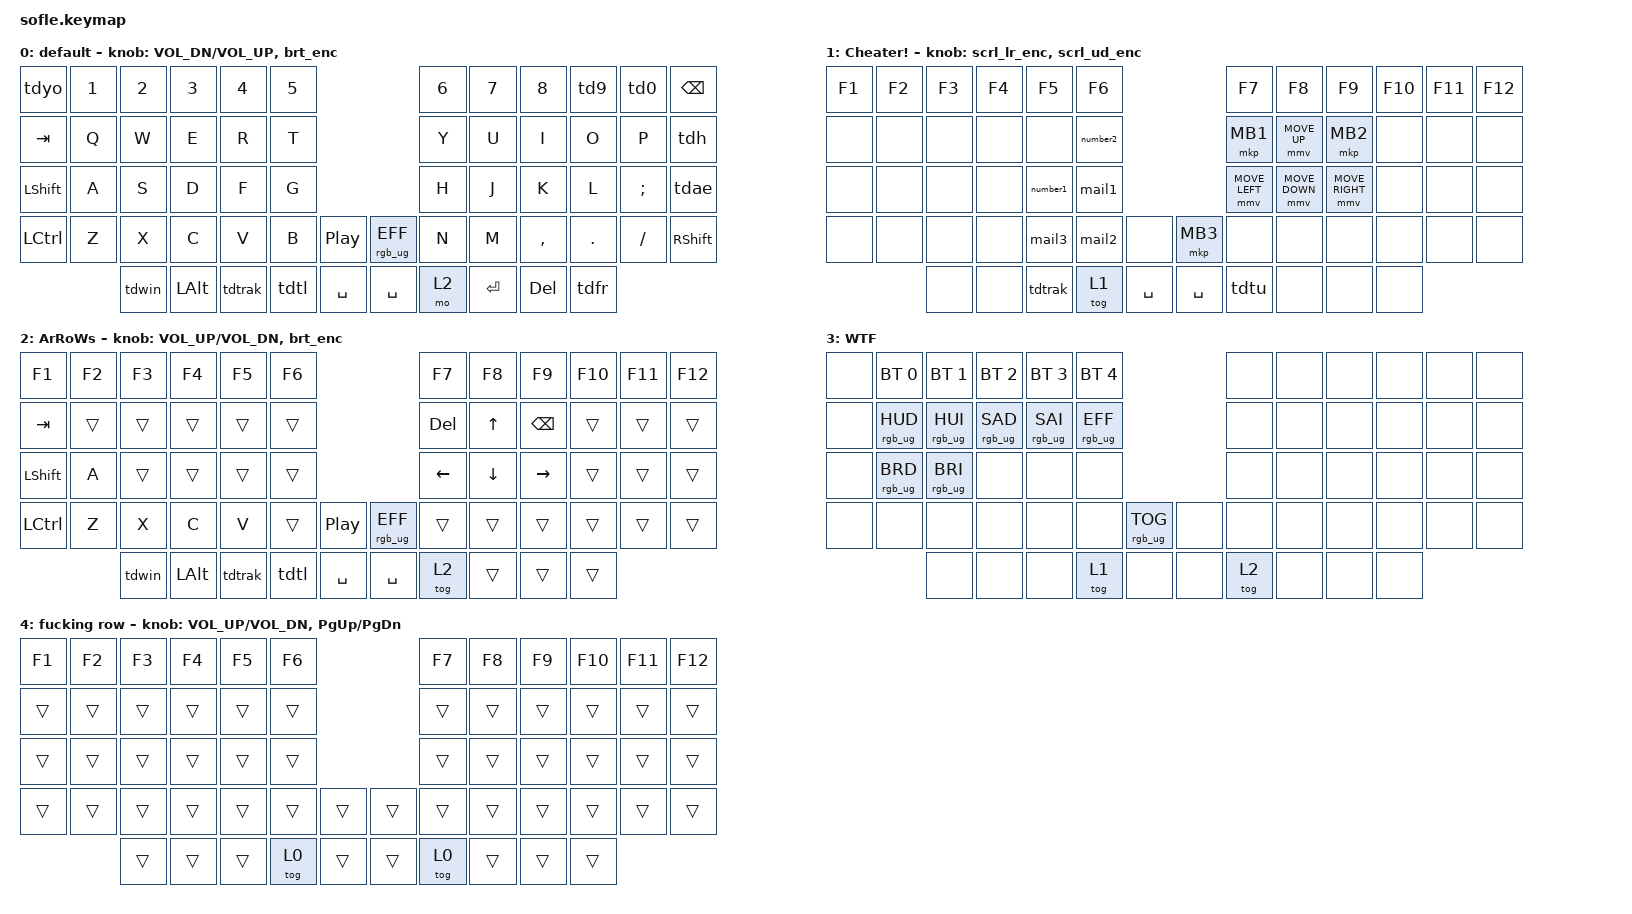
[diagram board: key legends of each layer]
/*
 * Copyright (c) 2020 The ZMK Contributors
 *
 * SPDX-License-Identifier: MIT
 */

#include <behaviors.dtsi>
#include <dt-bindings/zmk/keys.h>
#include <dt-bindings/zmk/bt.h>
#include <dt-bindings/zmk/rgb.h>
#include <dt-bindings/zmk/ext_power.h>
#include <dt-bindings/zmk/pointing.h>

#define BASE 0
#define LOWER 1
#define RAISE 2
#define ADJUST 3
#define FUCKING_ROW 4
#define TAP 175
#define LED 36
#define MACRO_TAP 5
#define MACRO_WAIT 20
/ {

   // Activate ADJUST layer by pressing raise and lower
    conditional_layers {
        compatible = "zmk,conditional-layers";
        adjust_layer {
            if-layers = <LOWER RAISE>;
            then-layer = <ADJUST>;            
        };
    };
    macros {
      wss: win-shift-s {
         compatible = "zmk,behavior-macro";
         #binding-cells = <0>;
         wait-ms = <MACRO_WAIT>;
         tap-ms = <MACRO_TAP>;
         bindings
            = <&macro_wait_time MACRO_WAIT>
            , <&macro_press &kp LGUI>
            , <&macro_press &kp LSHIFT>
            , <&macro_tap &kp S>
            , <&macro_release &kp LGUI>
            , <&macro_release &kp LSHIFT>
            ;
      };

      mail1: mail1 {
         compatible = "zmk,behavior-macro";
         #binding-cells = <0>;
         wait-ms = <MACRO_WAIT>;
         tap-ms = <MACRO_TAP>;
         bindings
            = <&macro_wait_time MACRO_WAIT>
            , <&macro_tap &kp E>
            , <&macro_tap &kp G>
            , <&macro_tap &kp O>
            , <&macro_tap &kp R>
            , <&macro_tap &kp K>
            , <&macro_tap &kp A>
            , <&macro_tap &kp DOT>
            , <&macro_tap &kp P>
            , <&macro_tap &kp A>
            , <&macro_tap &kp S>
            , <&macro_tap &kp K>
            , <&macro_tap &kp A>
            , <&macro_tap &kp L>
            , <&macro_tap &kp AT>
            , <&macro_tap &kp M>
            , <&macro_tap &kp A>
            , <&macro_tap &kp I>
            , <&macro_tap &kp L>
            , <&macro_tap &kp DOT>
            , <&macro_tap &kp R>
            , <&macro_tap &kp U>
            ;
      };

   mail2: mail2 {
         compatible = "zmk,behavior-macro";
         #binding-cells = <0>;
         wait-ms = <MACRO_WAIT>;
         tap-ms = <MACRO_TAP>;
         bindings
            = <&macro_wait_time MACRO_WAIT>
            , <&macro_tap &kp E>
            , <&macro_tap &kp G>
            , <&macro_tap &kp O>
            , <&macro_tap &kp R>
            , <&macro_tap &kp K>
            , <&macro_tap &kp A>
            , <&macro_tap &kp P>
            , <&macro_tap &kp A>
            , <&macro_tap &kp S>
            , <&macro_tap &kp K>
            , <&macro_tap &kp A>
            , <&macro_tap &kp L>
            , <&macro_tap &kp N3>
            , <&macro_tap &kp N0>
            , <&macro_tap &kp AT>
            , <&macro_tap &kp G>
            , <&macro_tap &kp M>
            , <&macro_tap &kp A>
            , <&macro_tap &kp I>
            , <&macro_tap &kp L>
            , <&macro_tap &kp DOT>
            , <&macro_tap &kp C>
            , <&macro_tap &kp O>
            , <&macro_tap &kp M>
            ;
      };

      mail3: mail3 {
         compatible = "zmk,behavior-macro";
         #binding-cells = <0>;
         wait-ms = <MACRO_WAIT>;
         tap-ms = <MACRO_TAP>;
         bindings
            = <&macro_wait_time MACRO_WAIT>
            , <&macro_tap &kp S>
            , <&macro_tap &kp N0>
            , <&macro_tap &kp N2>
            , <&macro_tap &kp N2>
            , <&macro_tap &kp N2>
            , <&macro_tap &kp N0>
            , <&macro_tap &kp N2>
            , <&macro_tap &kp N0>
            , <&macro_tap &kp N4>
            , <&macro_tap &kp AT>
            , <&macro_tap &kp G>
            , <&macro_tap &kp S>
            , <&macro_tap &kp E>
            , <&macro_tap &kp DOT>
            , <&macro_tap &kp C>
            , <&macro_tap &kp S>
            , <&macro_tap &kp DOT>
            , <&macro_tap &kp M>
            , <&macro_tap &kp S>
            , <&macro_tap &kp U>
            , <&macro_tap &kp DOT>
            , <&macro_tap &kp R>
            , <&macro_tap &kp U>
            ;
      };

      number1: number1 {
         compatible = "zmk,behavior-macro";
         #binding-cells = <0>;
         wait-ms = <MACRO_WAIT>;
         tap-ms = <MACRO_TAP>;
         bindings
            = <&macro_wait_time MACRO_WAIT>
            , <&macro_tap &kp N9>
            , <&macro_tap &kp N8>
            , <&macro_tap &kp N0>
            , <&macro_tap &kp N6>
            , <&macro_tap &kp N3>
            , <&macro_tap &kp N0>
            , <&macro_tap &kp N7>
            , <&macro_tap &kp N1>
            , <&macro_tap &kp N7>
            , <&macro_tap &kp N7>
            ;
      };
       number2: number2 {
         compatible = "zmk,behavior-macro";
         #binding-cells = <0>;
         wait-ms = <MACRO_WAIT>;
         tap-ms = <MACRO_TAP>;
         bindings
            = <&macro_wait_time MACRO_WAIT>
            , <&macro_tap &kp N2>
            , <&macro_tap &kp N5>
            , <&macro_tap &kp N0>
            , <&macro_tap &kp N9>
            , <&macro_tap &kp N1>
            , <&macro_tap &kp N3>
            , <&macro_tap &kp N0>
            , <&macro_tap &kp N8>
            , <&macro_tap &kp N0>
            , <&macro_tap &kp N8>
            , <&macro_tap &kp N0>
            , <&macro_tap &kp N9>
            ;
      };
    };
    behaviors {
      tdyo: tap_dance_yo {
         compatible = "zmk,behavior-tap-dance";
         #binding-cells = <0>;
         tapping-term-ms = <TAP>;
         bindings = <&kp ESC>, <&kp GRAVE>;
      };

      td9: tap_dance_9 {
         compatible = "zmk,behavior-tap-dance";
         #binding-cells = <0>;
         tapping-term-ms = <TAP>;
         bindings = <&kp N9>, <&kp MINUS>;
      };

      td0: tap_dance_0 {
         compatible = "zmk,behavior-tap-dance";
         #binding-cells = <0>;
         tapping-term-ms = <TAP>;
         bindings = <&kp N0>, <&kp EQUAL>;
      };

      tdh: tap_dance_h {
         compatible = "zmk,behavior-tap-dance";
         #binding-cells = <0>;
         tapping-term-ms = <TAP>;
         bindings = <&kp LBKT>, <&kp RBKT>;
      };

      tdae: tap_dance_ae {
         compatible = "zmk,behavior-tap-dance";
         #binding-cells = <0>;
         tapping-term-ms = <TAP>;
         bindings = <&kp SQT>, <&kp BSLH>;
      };

      tdwin: tap_dance_win {
         compatible = "zmk,behavior-tap-dance";
         #binding-cells = <0>;
         tapping-term-ms = <TAP>;
         bindings = <&kp LGUI>, <&wss>;
      };

      tdtrak: tap_dance_tracks {
         compatible = "zmk,behavior-tap-dance";
         #binding-cells = <0>;
         tapping-term-ms = <TAP>;
         bindings = <&none>, <&kp C_NEXT>, <&kp C_PREV>;
      };

      tdfr: tap_dance_f_row {
         compatible = "zmk,behavior-tap-dance";
         #binding-cells = <0>;
         tapping-term-ms = <TAP>;
         bindings = <&sl 4>, <&tog 4>;
      };

      tdtl: tap_dance_toggle_lower {
         compatible = "zmk,behavior-tap-dance";
         #binding-cells = <0>;
         tapping-term-ms = <TAP>;
         bindings = <&none>, <&tog 1>;
      };

      tdtu: tap_dance_toggle_upper {
         compatible = "zmk,behavior-tap-dance";
         #binding-cells = <0>;
         tapping-term-ms = <TAP>;
         bindings = <&none>, <&tog 2>;
      };

      brt_enc: brightness_encoder {
         compatible = "zmk,behavior-sensor-rotate";
         #sensor-binding-cells = <0>;
         bindings = <&rgb_ug RGB_BRD>, <&rgb_ug RGB_BRI>;
      };
      scrl_lr_enc: scroll_left_right_encoder {
         compatible = "zmk,behavior-sensor-rotate";
         #sensor-binding-cells = <0>;
         bindings = <&msc SCRL_LEFT>, <&msc SCRL_RIGHT>;
      };
      scrl_ud_enc: scroll_up_down_encoder {
         compatible = "zmk,behavior-sensor-rotate";
         #sensor-binding-cells = <0>;
         bindings = <&msc SCRL_UP>, <&msc SCRL_DOWN>;
      };
    };
    keymap {
        compatible = "zmk,keymap";

        default_layer {
            display-name = "default";
// ------------------------------------------------------------------------------------------------------------
// | ESCtdЁ|  1  |  2  |  3   |  4   |  5   |                   |  6   |  7    |  8    | 9td- |  0td= | BKSPC  |
// |  TAB  |  Q  |  W  |  E   |  R   |  T   |                   |  Y   |  U    |  I    |  O   |   P   |{[Хtd}]Ъ|
// | SHIFT |  A  |  S  |  D   |  F   |  G   |                   |  H   |  J    |  K    |  L   |   ;   | 'td\|  |
// |  CTRL |  Z  |  X  |  C   |  V   |  B   |PLY-PAUS|  |RGB-CHG|  N   |  M    |  ,    |  .   |   /   | SHIFT  |
//             |GUItdWSS| ALT |TRUCK | LOWER|  SPACE |  | SPACE | RAISE| ENTER | DEL   |F-row |
            bindings = <
&tdyo     &kp N1 &kp N2   &kp N3   &kp N4    &kp N5                                 &kp N6     &kp N7    &kp N8    &td9     &td0     &kp BSPC
&kp TAB   &kp Q  &kp W    &kp E    &kp R     &kp T                                  &kp Y      &kp U     &kp I     &kp O    &kp P    &tdh
&kp LSHFT &kp A  &kp S    &kp D    &kp F     &kp G                                  &kp H      &kp J     &kp K     &kp L    &kp SEMI &tdae
&kp LCTRL &kp Z  &kp X    &kp C    &kp V     &kp B      &kp C_PP   &rgb_ug RGB_EFF  &kp N      &kp M     &kp COMMA &kp DOT  &kp FSLH &kp RSHFT
                 &tdwin   &kp LALT &tdtrak   &tdtl      &kp SPACE  &kp SPACE        &mo 2     &kp RET   &kp DEL   &tdfr
            >;

            sensor-bindings = <&inc_dec_kp C_VOL_DN C_VOL_UP &brt_enc>;
        };

        lower_layer {
            display-name = "Cheater!";
// ------------------------------------------------------------------------------------------------------------
// |  F1   |  F2 |  F3 |  F4  |  F5  |   F6 |                   |  F7  |  F8   |   F9  |  F10 |  F11  |  F12  |
// |       |     |     |      |      | num2 |                   | LMC  |  M^   |  RMC  |      |       |       |
// |       |     |     |      | num1 |email1|                   | M<-  |  Mv   |  M->  |      |       |       |
// |       |     |     |      |      |email2|        |  |  MMC  |      |       |       |      |       |       |
//               |     |      | trck | low? | SPACE  |  | SPACE |  up  |       |       |      |
            bindings = <
&kp F1    &kp F2    &kp F3    &kp F4      &kp F5    &kp F6                         &kp F7         &kp F8         &kp F9          &kp F10   &kp F11   &kp F12      
&none     &none     &none     &none       &none     &number2                       &mkp MB1       &mmv MOVE_UP   &mkp MB2        &none     &none     &none
&none     &none     &none     &none       &number1  &mail1                         &mmv MOVE_LEFT &mmv MOVE_DOWN &mmv MOVE_RIGHT &none     &none     &none 
&none     &none     &none     &none       &mail3    &mail2    &none      &mkp MB3  &none          &none          &none           &none     &none     &none 
                    &none     &none       &tdtrak   &tog 1   &kp SPACE   &kp SPACE &tdtu          &none          &none           &none 
            >;

            sensor-bindings = <&scrl_lr_enc &scrl_ud_enc>;
        };

        raise_layer {
            display-name = "ArRoWs";
// ------------------------------------------------------------------------------------------------------------
// |  F1   |  F2  |  F3  |  F4   |  F5   |   F6 |                 |  F7  |  F8  |   F9  |  F10 |  F11  |  F12  |
// |  TAB  |      |      |       |       |      |                 | DEL  |   ^   | BKSPC|      |       |       |
// | SHIFT |   A  |      |       |       |      |                 |   <- |   v   |  ->  |      |       |       |
// | CTRL  |   Z  |  X   |    C  |    V  |      |PLY-PAUS||RGB-CHG|      |      |       |      |       |       |
//                | WIN  | LALT  | TRUCK |low   |SPACE |  |SPACE  | up?  |      |       |      |
            bindings = <
&kp F1     &kp F2       &kp F3       &kp F4       &kp F5       &kp F6                              &kp F7     &kp F8    &kp F9    &kp F10   &kp F11 &kp F12
&kp TAB    &trans       &trans       &trans       &trans       &trans                              &kp DEL    &kp UP    &kp BSPC  &trans    &trans  &trans
&kp LSHIFT &kp A        &trans       &trans       &trans       &trans                              &kp LEFT   &kp DOWN  &kp RIGHT &trans    &trans  &trans
&kp LCTRL  &kp Z        &kp X        &kp C        &kp V        &trans    &kp C_PP  &rgb_ug RGB_EFF &trans     &trans    &trans    &trans    &trans  &trans
                        &tdwin       &kp LALT     &tdtrak      &tdtl     &kp SPACE &kp SPACE       &tog 2     &trans    &trans    &trans
            >;

            sensor-bindings = <&inc_dec_kp C_VOL_UP C_VOL_DN &brt_enc>;
        };

        adjust_layer {
// ----------------------------------------------------------------------------------------------------------------------------
// |        |  BT1    |  BT2    |   BT3   |   BT4   |   BT5   |                  |      |      |       |      |       |       |
// |        | RGB_HUD | RGB_HUI | RGB_SAD | RGB_SAI | RGB_EFF |                  |      |      |       |      |       |       |
// |        | RGB_BRD | RGB_BRI |         |         |         |                  |      |      |       |      |       |       |
// |        |         |         |         |         |         | RGB_TOG | |      |      |      |       |      |       |       |
//                    |         |         |         |         |         | |      |      |      |       |      |
            display-name = "WTF";
            bindings = <
&none             &bt BT_SEL 0    &bt BT_SEL 1    &bt BT_SEL 2    &bt BT_SEL 3    &bt BT_SEL 4                            &none &none &none &none &none &none
&none             &rgb_ug RGB_HUD &rgb_ug RGB_HUI &rgb_ug RGB_SAD &rgb_ug RGB_SAI &rgb_ug RGB_EFF                         &none &none &none &none &none &none
&none             &rgb_ug RGB_BRD &rgb_ug RGB_BRI &none           &none           &none                                   &none &none &none &none &none &none
&none             &none           &none           &none           &none           &none            &rgb_ug RGB_TOG &none  &none &none &none &none &none &none
                                  &none           &none           &none           &tog 1           &none           &none  &tog 2 &none &none &none
            >;
        };
      fucking_layer {
            display-name = "fucking row";
// ------------------------------------------------------------------------------------------------------------
// | F1 | F2 | F3 | F4 | F5 | F6 |               | F7  | F8 | F9 | F10 | F11 | F12 |
// |    |    |    |    |    |    |               |     |    |    |     |     |     |
// |    |    |    |    |    |    |               |     |    |    |     |     |     |
// |    |    |    |    |    |    |    |     |    |     |    |    |     |     |     |
//           |    |    |    |    |    |     |    |     |    |    |     |
            bindings = <
               &kp F1 &kp F2 &kp F3 &kp F4 &kp F5 &kp F6               &kp F7 &kp F8 &kp F9 &kp F10 &kp F11 &kp F12
               &trans &trans &trans &trans &trans &trans               &trans &trans &trans &trans  &trans  &trans
               &trans &trans &trans &trans &trans &trans               &trans &trans &trans &trans  &trans  &trans 
               &trans &trans &trans &trans &trans &trans &trans &trans &trans &trans &trans &trans  &trans  &trans
                             &trans &trans &trans &tog 0 &trans &trans &tog 0 &trans &trans &trans
            >;

            sensor-bindings = <&inc_dec_kp C_VOL_UP C_VOL_DN &inc_dec_kp PG_UP PG_DN>;
        };

    };
};
&led_strip {
   chain-length = <LED>;
};
